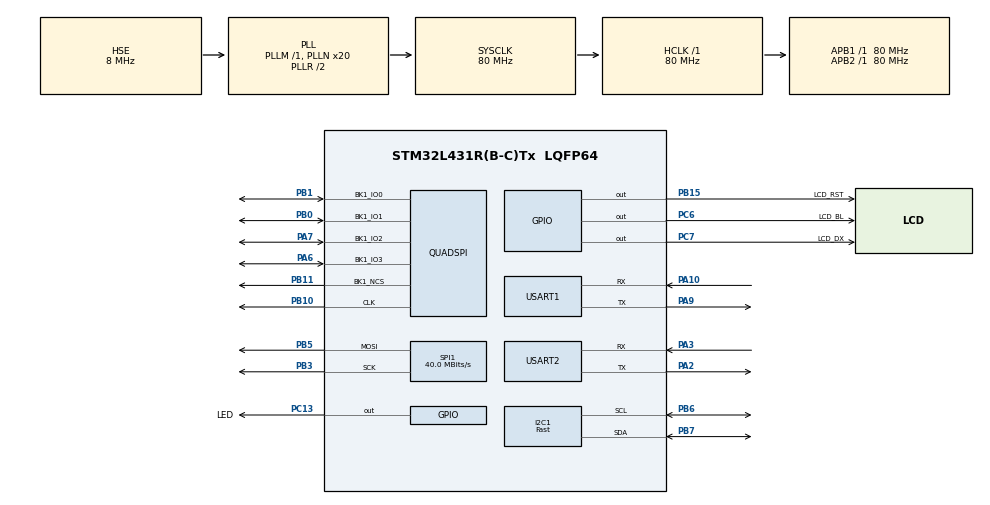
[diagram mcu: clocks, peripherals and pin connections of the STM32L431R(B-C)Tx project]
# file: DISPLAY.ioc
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Dma.Request0=SPI1_TX
Dma.SPI1_TX.0.Direction=DMA_MEMORY_TO_PERIPH
Dma.SPI1_TX.0.Instance=DMA1_Channel3
Dma.SPI1_TX.0.MemDataAlignment=DMA_MDATAALIGN_BYTE
Dma.SPI1_TX.0.MemInc=DMA_MINC_ENABLE
Dma.SPI1_TX.0.Mode=DMA_NORMAL
Dma.SPI1_TX.0.PeriphDataAlignment=DMA_PDATAALIGN_BYTE
Dma.SPI1_TX.0.PeriphInc=DMA_PINC_DISABLE
Dma.SPI1_TX.0.Priority=DMA_PRIORITY_LOW
I2C1.I2C_Speed_Mode=I2C_Fast
I2C1.Timing=0x00702991
Mcu.Family=STM32L4
Mcu.Name=STM32L431R(B-C)Tx
Mcu.Package=LQFP64
NVIC.DMA1_Channel3_IRQn=true\:0\:0\:false\:false\:true\:false\:true\:true
NVIC.PriorityGroup=NVIC_PRIORITYGROUP_4
NVIC.SPI1_IRQn=true\:0\:0\:false\:false\:true\:true\:true\:true
NVIC.TIM6_DAC_IRQn=true\:0\:0\:false\:false\:true\:true\:true\:true
NVIC.USART2_IRQn=true\:0\:0\:false\:false\:true\:true\:true\:true
PA10.Mode=Asynchronous
PA10.Signal=USART1_RX
PA13\ (JTMS-SWDIO).Mode=Serial_Wire
PA13\ (JTMS-SWDIO).Signal=SYS_JTMS-SWDIO
PA14\ (JTCK-SWCLK).Mode=Serial_Wire
PA14\ (JTCK-SWCLK).Signal=SYS_JTCK-SWCLK
PA2.Mode=Asynchronous
PA2.Signal=USART2_TX
PA3.Mode=Asynchronous
PA3.Signal=USART2_RX
PA6.Mode=Single Bank 1
PA6.Signal=QUADSPI_BK1_IO3
PA7.Mode=Single Bank 1
PA7.Signal=QUADSPI_BK1_IO2
PA9.Mode=Asynchronous
PA9.Signal=USART1_TX
PB0.Mode=Single Bank 1
PB0.Signal=QUADSPI_BK1_IO1
PB1.Mode=Single Bank 1
PB1.Signal=QUADSPI_BK1_IO0
PB10.Mode=Single Bank 1
PB10.Signal=QUADSPI_CLK
PB11.Mode=Single Bank 1
PB11.Signal=QUADSPI_BK1_NCS
PB15.GPIO_Label=LCD_RST
PB15.GPIO_PuPd=GPIO_PULLUP
PB15.Signal=GPIO_Output
PB3\ (JTDO-TRACESWO).GPIO_PuPd=GPIO_PULLDOWN
PB3\ (JTDO-TRACESWO).Mode=TX_Only_Simplex_Unidirect_Master
PB3\ (JTDO-TRACESWO).Signal=SPI1_SCK
PB5.GPIO_PuPd=GPIO_PULLDOWN
PB5.Mode=TX_Only_Simplex_Unidirect_Master
PB5.Signal=SPI1_MOSI
PB6.Mode=I2C
PB6.Signal=I2C1_SCL
PB7.Mode=I2C
PB7.Signal=I2C1_SDA
PC13.GPIO_Label=LED
PC13.GPIO_PuPd=GPIO_PULLDOWN
PC13.PinState=GPIO_PIN_SET
PC13.Signal=GPIO_Output
PC6.GPIO_Label=LCD_BL
PC6.GPIO_PuPd=GPIO_PULLUP
PC6.Signal=GPIO_Output
PC7.GPIO_Label=LCD_DX
PC7.GPIO_PuPd=GPIO_PULLUP
PC7.GPIO_Speed=GPIO_SPEED_FREQ_VERY_HIGH
PC7.PinState=GPIO_PIN_SET
PC7.Signal=GPIO_Output
PH0-OSC_IN\ (PH0).Mode=HSE-External-Oscillator
PH0-OSC_IN\ (PH0).Signal=RCC_OSC_IN
PH1-OSC_OUT\ (PH1).Mode=HSE-External-Oscillator
PH1-OSC_OUT\ (PH1).Signal=RCC_OSC_OUT
ProjectManager.HeapSize=0x200
ProjectManager.StackSize=0x800
ProjectManager.TargetToolchain=MDK-ARM V5.32
QUADSPI.ChipSelectHighTime=QSPI_CS_HIGH_TIME_4_CYCLE
QUADSPI.ClockPrescaler=0
QUADSPI.FifoThreshold=4
QUADSPI.FlashSize=24
QUADSPI.SampleShifting=QSPI_SAMPLE_SHIFTING_HALFCYCLE
RCC.ADCFreq_Value=32000000
RCC.AHBFreq_Value=80000000
RCC.APB1Freq_Value=80000000
RCC.APB1TimFreq_Value=80000000
RCC.APB2Freq_Value=80000000
RCC.APB2TimFreq_Value=80000000
RCC.CortexFreq_Value=80000000
RCC.HCLKFreq_Value=80000000
RCC.HSE_VALUE=8000000
RCC.HSI48_VALUE=48000000
RCC.HSI_VALUE=16000000
RCC.LSE_VALUE=32768
RCC.MSI_VALUE=4000000
RCC.PLLN=20
RCC.PLLSourceVirtual=RCC_PLLSOURCE_HSE
RCC.SYSCLKFreq_VALUE=80000000
RCC.SYSCLKSource=RCC_SYSCLKSOURCE_PLLCLK
RCC.VCOOutputFreq_Value=160000000
SPI1.BaudRatePrescaler=SPI_BAUDRATEPRESCALER_2
SPI1.CLKPhase=SPI_PHASE_2EDGE
SPI1.CLKPolarity=SPI_POLARITY_HIGH
SPI1.CalculateBaudRate=40.0 MBits/s
SPI1.DataSize=SPI_DATASIZE_8BIT
SPI1.Direction=SPI_DIRECTION_2LINES
SPI1.Mode=SPI_MODE_MASTER
SPI1.VirtualType=VM_MASTER
STMicroelectronics.X-CUBE-TOUCHGFX.4.18.1.ApplicationCcGraphicsJjApplication=TouchGFXOoGenerator
STMicroelectronics.X-CUBE-TOUCHGFX.4.18.1.tgfx_block_size=2048
STMicroelectronics.X-CUBE-TOUCHGFX.4.18.1.tgfx_buffering_strategy=Partial
STMicroelectronics.X-CUBE-TOUCHGFX.4.18.1.tgfx_custom_height=320
STMicroelectronics.X-CUBE-TOUCHGFX.4.18.1.tgfx_custom_width=240
STMicroelectronics.X-CUBE-TOUCHGFX.4.18.1.tgfx_datareader=Disabled
STMicroelectronics.X-CUBE-TOUCHGFX.4.18.1.tgfx_datareader_block_size=480
STMicroelectronics.X-CUBE-TOUCHGFX.4.18.1.tgfx_number_of_blocks=6
STMicroelectronics.X-CUBE-TOUCHGFX.4.18.1.tgfx_partialfb_transmit_strategy=Enabled
STMicroelectronics.X-CUBE-TOUCHGFX.4.18.1_IsPackSelfContextualization=true
TIM6.AutoReloadPreload=TIM_AUTORELOAD_PRELOAD_ENABLE
TIM6.Period=1000
TIM6.Prescaler=79
TIM6.TIM_MasterOutputTrigger=TIM_TRGO_ENABLE
USART1.VirtualMode-Asynchronous=VM_ASYNC
USART2.VirtualMode-Asynchronous=VM_ASYNC
VP_CRC_VS_CRC.Mode=CRC_Activate
VP_STMicroelectronics.X-CUBE-TOUCHGFX_VS_GraphicsJjApplication_4.18.1.Mode=GraphicsJjApplication
VP_TIM6_VS_ClockSourceINT.Mode=Enable_Timer
board=custom

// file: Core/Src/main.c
/* USER CODE BEGIN Header */
/**
  ******************************************************************************
  * @file           : main.c
  * @brief          : Main program body
  ******************************************************************************
  * @attention
  *
  * <h2><center>&copy; Copyright (c) 2022 STMicroelectronics.
  * All rights reserved.</center></h2>
  *
  * This software component is licensed by ST under BSD 3-Clause license,
  * the "License"; You may not use this file except in compliance with the
  * License. You may obtain a copy of the License at:
  *                        opensource.org/licenses/BSD-3-Clause
  *
  ******************************************************************************
  */
/* USER CODE END Header */
#include "main.h"
#include "app_touchgfx.h"

/* USER CODE BEGIN Includes */
#include "st7789.h"
#include "norflash.h"
#include "ns2009.h"
#include "stdio.h"
/* USER CODE END Includes */

CRC_HandleTypeDef hcrc;

I2C_HandleTypeDef hi2c1;

QSPI_HandleTypeDef hqspi;

SPI_HandleTypeDef hspi1;
DMA_HandleTypeDef hdma_spi1_tx;

TIM_HandleTypeDef htim6;

UART_HandleTypeDef huart1;
UART_HandleTypeDef huart2;

/* USER CODE BEGIN PV */
#ifdef __GNUC__
#define PUTCHAR_PROTOTYPE int __io_putchar(int ch)
#else
#define PUTCHAR_PROTOTYPE int fputc(int ch, FILE *f)
#endif
PUTCHAR_PROTOTYPE { HAL_UART_Transmit(&huart1 , (uint8_t *)&ch, 1, 0xFFFF); return ch; }

//UART.c
uint8_t UART1_Rx_Buf[MAX_REC_LENGTH] = {0}; //USART1存储接收数据
uint8_t UART1_Rx_flg = 0;                   //USART1接收完成标志
uint8_t  UART1_Rx_cnt = 0;                   //USART1接受数据计数器
uint8_t UART1_temp[REC_LENGTH] = {0};       //USART1接收数据缓存

uint8_t UART2_Rx_Buf[1] = {0}; //USART2存储接收数据
uint8_t UART2_Rx_Data = 0;                   //USART2接收字节
uint8_t UART2_Rx_cnt = 0;                   //USART2接受数据计数器
uint8_t UART2_temp[REC2_LENGTH] = {0};       //USART2接收数据缓存
uint8_t UART2_Data[REC_LENGTH] = {0};

uint8_t aRxBuff;        //用于存放串口接收到的单字节
uint8_t rxNum = 0;      //用于计数
uint8_t rxFlag = 0;     //接收标志，用于判断串口是否正在接收一帧数据

uint8_t headBuff[5];    //临时存放帧头
uint8_t rxBuff[24];     //用于存放接收到的帧

uint8_t dataBuff1[24];  //数据包1
uint8_t dataBuff2[24];  //数据包2
/* USER CODE END PV */

void SystemClock_Config(void);
static void MX_GPIO_Init(void);
static void MX_DMA_Init(void);
static void MX_SPI1_Init(void);
static void MX_CRC_Init(void);
static void MX_TIM6_Init(void);
static void MX_QUADSPI_Init(void);
static void MX_I2C1_Init(void);
static void MX_USART1_UART_Init(void);
static void MX_USART2_UART_Init(void);

/* USER CODE BEGIN 0 */
int start_time1,start_time2,started=0;
/* USER CODE END 0 */

int main(void)
{

  /* MCU Configuration--------------------------------------------------------*/

  /* Reset of all peripherals, Initializes the Flash interface and the Systick. */
  HAL_Init();

  /* Configure the system clock */
  SystemClock_Config();

  /* USER CODE BEGIN SysInit */
  MX_QUADSPI_Init();
	NORFLASH_Init();
		HAL_Delay(500);
  /* USER CODE END SysInit */

  /* Initialize all configured peripherals */
  MX_GPIO_Init();
  MX_DMA_Init();
  MX_SPI1_Init();
  MX_CRC_Init();
  MX_TIM6_Init();
  MX_I2C1_Init();
  MX_USART1_UART_Init();
  MX_USART2_UART_Init();
  MX_TouchGFX_Init();
  /* USER CODE BEGIN 2 */
	bsp_ns2009_init();
	ST7789_Init();
	HAL_TIM_Base_Start_IT(&htim6);
  /* USER CODE END 2 */

  /* Infinite loop */
  while (1)
  {

		MX_TouchGFX_Process();
    /* USER CODE BEGIN 3 */
		//串口发送指令给下位机
			UART2_Data[0]=0xA5;
			UART2_Data[1]=0x5A;
			for(int i=0;i<REC_LENGTH;i++)
			HAL_UART_Transmit(&huart2,&UART2_Data[i],1,1000);//单字节发送

  }
  /* USER CODE END 3 */
}

void SystemClock_Config(void)
{
  RCC_OscInitTypeDef RCC_OscInitStruct = {0};
  RCC_ClkInitTypeDef RCC_ClkInitStruct = {0};

  /** Configure the main internal regulator output voltage
  */
  if (HAL_PWREx_ControlVoltageScaling(PWR_REGULATOR_VOLTAGE_SCALE1) != HAL_OK)
  {
    Error_Handler();
  }

  /** Initializes the RCC Oscillators according to the specified parameters
  * in the RCC_OscInitTypeDef structure.
  */
  RCC_OscInitStruct.OscillatorType = RCC_OSCILLATORTYPE_HSE;
  RCC_OscInitStruct.HSEState = RCC_HSE_ON;
  RCC_OscInitStruct.PLL.PLLState = RCC_PLL_ON;
  RCC_OscInitStruct.PLL.PLLSource = RCC_PLLSOURCE_HSE;
  RCC_OscInitStruct.PLL.PLLM = 1;
  RCC_OscInitStruct.PLL.PLLN = 20;
  RCC_OscInitStruct.PLL.PLLP = RCC_PLLP_DIV7;
  RCC_OscInitStruct.PLL.PLLQ = RCC_PLLQ_DIV2;
  RCC_OscInitStruct.PLL.PLLR = RCC_PLLR_DIV2;
  if (HAL_RCC_OscConfig(&RCC_OscInitStruct) != HAL_OK)
  {
    Error_Handler();
  }

  /** Initializes the CPU, AHB and APB buses clocks
  */
  RCC_ClkInitStruct.ClockType = RCC_CLOCKTYPE_HCLK|RCC_CLOCKTYPE_SYSCLK
                              |RCC_CLOCKTYPE_PCLK1|RCC_CLOCKTYPE_PCLK2;
  RCC_ClkInitStruct.SYSCLKSource = RCC_SYSCLKSOURCE_PLLCLK;
  RCC_ClkInitStruct.AHBCLKDivider = RCC_SYSCLK_DIV1;
  RCC_ClkInitStruct.APB1CLKDivider = RCC_HCLK_DIV1;
  RCC_ClkInitStruct.APB2CLKDivider = RCC_HCLK_DIV1;

  if (HAL_RCC_ClockConfig(&RCC_ClkInitStruct, FLASH_LATENCY_4) != HAL_OK)
  {
    Error_Handler();
  }
}

static void MX_CRC_Init(void)
{

  hcrc.Instance = CRC;
  hcrc.Init.DefaultPolynomialUse = DEFAULT_POLYNOMIAL_ENABLE;
  hcrc.Init.DefaultInitValueUse = DEFAULT_INIT_VALUE_ENABLE;
  hcrc.Init.InputDataInversionMode = CRC_INPUTDATA_INVERSION_NONE;
  hcrc.Init.OutputDataInversionMode = CRC_OUTPUTDATA_INVERSION_DISABLE;
  hcrc.InputDataFormat = CRC_INPUTDATA_FORMAT_BYTES;
  if (HAL_CRC_Init(&hcrc) != HAL_OK)
  {
    Error_Handler();
  }

}

static void MX_I2C1_Init(void)
{

  hi2c1.Instance = I2C1;
  hi2c1.Init.Timing = 0x00702991;
  hi2c1.Init.OwnAddress1 = 0;
  hi2c1.Init.AddressingMode = I2C_ADDRESSINGMODE_7BIT;
  hi2c1.Init.DualAddressMode = I2C_DUALADDRESS_DISABLE;
  hi2c1.Init.OwnAddress2 = 0;
  hi2c1.Init.OwnAddress2Masks = I2C_OA2_NOMASK;
  hi2c1.Init.GeneralCallMode = I2C_GENERALCALL_DISABLE;
  hi2c1.Init.NoStretchMode = I2C_NOSTRETCH_DISABLE;
  if (HAL_I2C_Init(&hi2c1) != HAL_OK)
  {
    Error_Handler();
  }

  /** Configure Analogue filter
  */
  if (HAL_I2CEx_ConfigAnalogFilter(&hi2c1, I2C_ANALOGFILTER_ENABLE) != HAL_OK)
  {
    Error_Handler();
  }

  /** Configure Digital filter
  */
  if (HAL_I2CEx_ConfigDigitalFilter(&hi2c1, 0) != HAL_OK)
  {
    Error_Handler();
  }

}

static void MX_QUADSPI_Init(void)
{

  /* QUADSPI parameter configuration*/
  hqspi.Instance = QUADSPI;
  hqspi.Init.ClockPrescaler = 0;
  hqspi.Init.FifoThreshold = 4;
  hqspi.Init.SampleShifting = QSPI_SAMPLE_SHIFTING_HALFCYCLE;
  hqspi.Init.FlashSize = 24;
  hqspi.Init.ChipSelectHighTime = QSPI_CS_HIGH_TIME_4_CYCLE;
  hqspi.Init.ClockMode = QSPI_CLOCK_MODE_0;
  hqspi.Init.FlashID = QSPI_FLASH_ID_1;
  hqspi.Init.DualFlash = QSPI_DUALFLASH_DISABLE;
  if (HAL_QSPI_Init(&hqspi) != HAL_OK)
  {
    Error_Handler();
  }

}

static void MX_SPI1_Init(void)
{

  /* SPI1 parameter configuration*/
  hspi1.Instance = SPI1;
  hspi1.Init.Mode = SPI_MODE_MASTER;
  hspi1.Init.Direction = SPI_DIRECTION_2LINES;
  hspi1.Init.DataSize = SPI_DATASIZE_8BIT;
  hspi1.Init.CLKPolarity = SPI_POLARITY_HIGH;
  hspi1.Init.CLKPhase = SPI_PHASE_2EDGE;
  hspi1.Init.NSS = SPI_NSS_SOFT;
  hspi1.Init.BaudRatePrescaler = SPI_BAUDRATEPRESCALER_2;
  hspi1.Init.FirstBit = SPI_FIRSTBIT_MSB;
  hspi1.Init.TIMode = SPI_TIMODE_DISABLE;
  hspi1.Init.CRCCalculation = SPI_CRCCALCULATION_DISABLE;
  hspi1.Init.CRCPolynomial = 7;
  hspi1.Init.CRCLength = SPI_CRC_LENGTH_DATASIZE;
  hspi1.Init.NSSPMode = SPI_NSS_PULSE_DISABLE;
  if (HAL_SPI_Init(&hspi1) != HAL_OK)
  {
    Error_Handler();
  }

}

static void MX_TIM6_Init(void)
{

  TIM_MasterConfigTypeDef sMasterConfig = {0};

  htim6.Instance = TIM6;
  htim6.Init.Prescaler = 79;
  htim6.Init.CounterMode = TIM_COUNTERMODE_UP;
  htim6.Init.Period = 1000;
  htim6.Init.AutoReloadPreload = TIM_AUTORELOAD_PRELOAD_ENABLE;
  if (HAL_TIM_Base_Init(&htim6) != HAL_OK)
  {
    Error_Handler();
  }
  sMasterConfig.MasterOutputTrigger = TIM_TRGO_ENABLE;
  sMasterConfig.MasterSlaveMode = TIM_MASTERSLAVEMODE_DISABLE;
  if (HAL_TIMEx_MasterConfigSynchronization(&htim6, &sMasterConfig) != HAL_OK)
  {
    Error_Handler();
  }

}

static void MX_USART1_UART_Init(void)
{

  huart1.Instance = USART1;
  huart1.Init.BaudRate = 115200;
  huart1.Init.WordLength = UART_WORDLENGTH_8B;
  huart1.Init.StopBits = UART_STOPBITS_1;
  huart1.Init.Parity = UART_PARITY_NONE;
  huart1.Init.Mode = UART_MODE_TX_RX;
  huart1.Init.HwFlowCtl = UART_HWCONTROL_NONE;
  huart1.Init.OverSampling = UART_OVERSAMPLING_16;
  huart1.Init.OneBitSampling = UART_ONE_BIT_SAMPLE_DISABLE;
  huart1.AdvancedInit.AdvFeatureInit = UART_ADVFEATURE_NO_INIT;
  if (HAL_UART_Init(&huart1) != HAL_OK)
  {
    Error_Handler();
  }

}

static void MX_USART2_UART_Init(void)
{

  huart2.Instance = USART2;
  huart2.Init.BaudRate = 115200;
  huart2.Init.WordLength = UART_WORDLENGTH_8B;
  huart2.Init.StopBits = UART_STOPBITS_1;
  huart2.Init.Parity = UART_PARITY_NONE;
  huart2.Init.Mode = UART_MODE_TX_RX;
  huart2.Init.HwFlowCtl = UART_HWCONTROL_NONE;
  huart2.Init.OverSampling = UART_OVERSAMPLING_16;
  huart2.Init.OneBitSampling = UART_ONE_BIT_SAMPLE_DISABLE;
  huart2.AdvancedInit.AdvFeatureInit = UART_ADVFEATURE_NO_INIT;
  if (HAL_UART_Init(&huart2) != HAL_OK)
  {
    Error_Handler();
  }
  /* USER CODE BEGIN USART2_Init 2 */
//	HAL_UART_Receive_IT(&huart2,(uint8_t *)UART2_temp,REC_LENGTH);
	HAL_UART_Receive_IT(&huart2,UART2_Rx_Buf,1);
//	HAL_UART_Receive_IT(&huart2,&aRxBuff,1);
  /* USER CODE END USART2_Init 2 */

}

static void MX_DMA_Init(void)
{

  /* DMA controller clock enable */
  __HAL_RCC_DMA1_CLK_ENABLE();

  /* DMA interrupt init */
  /* DMA1_Channel3_IRQn interrupt configuration */
  HAL_NVIC_SetPriority(DMA1_Channel3_IRQn, 0, 0);
  HAL_NVIC_EnableIRQ(DMA1_Channel3_IRQn);

}

static void MX_GPIO_Init(void)
{
  GPIO_InitTypeDef GPIO_InitStruct = {0};

  /* GPIO Ports Clock Enable */
  __HAL_RCC_GPIOC_CLK_ENABLE();
  __HAL_RCC_GPIOH_CLK_ENABLE();
  __HAL_RCC_GPIOA_CLK_ENABLE();
  __HAL_RCC_GPIOB_CLK_ENABLE();

  /*Configure GPIO pin Output Level */
  HAL_GPIO_WritePin(GPIOC, LED_Pin|LCD_DX_Pin, GPIO_PIN_SET);

  /*Configure GPIO pin Output Level */
  HAL_GPIO_WritePin(LCD_RST_GPIO_Port, LCD_RST_Pin, GPIO_PIN_RESET);

  /*Configure GPIO pin Output Level */
  HAL_GPIO_WritePin(LCD_BL_GPIO_Port, LCD_BL_Pin, GPIO_PIN_RESET);

  /*Configure GPIO pin : LED_Pin */
  GPIO_InitStruct.Pin = LED_Pin;
  GPIO_InitStruct.Mode = GPIO_MODE_OUTPUT_PP;
  GPIO_InitStruct.Pull = GPIO_PULLDOWN;
  GPIO_InitStruct.Speed = GPIO_SPEED_FREQ_LOW;
  HAL_GPIO_Init(LED_GPIO_Port, &GPIO_InitStruct);

  /*Configure GPIO pin : LCD_RST_Pin */
  GPIO_InitStruct.Pin = LCD_RST_Pin;
  GPIO_InitStruct.Mode = GPIO_MODE_OUTPUT_PP;
  GPIO_InitStruct.Pull = GPIO_PULLUP;
  GPIO_InitStruct.Speed = GPIO_SPEED_FREQ_LOW;
  HAL_GPIO_Init(LCD_RST_GPIO_Port, &GPIO_InitStruct);

  /*Configure GPIO pin : LCD_BL_Pin */
  GPIO_InitStruct.Pin = LCD_BL_Pin;
  GPIO_InitStruct.Mode = GPIO_MODE_OUTPUT_PP;
  GPIO_InitStruct.Pull = GPIO_PULLUP;
  GPIO_InitStruct.Speed = GPIO_SPEED_FREQ_LOW;
  HAL_GPIO_Init(LCD_BL_GPIO_Port, &GPIO_InitStruct);

  /*Configure GPIO pin : LCD_DX_Pin */
  GPIO_InitStruct.Pin = LCD_DX_Pin;
  GPIO_InitStruct.Mode = GPIO_MODE_OUTPUT_PP;
  GPIO_InitStruct.Pull = GPIO_PULLUP;
  GPIO_InitStruct.Speed = GPIO_SPEED_FREQ_VERY_HIGH;
  HAL_GPIO_Init(LCD_DX_GPIO_Port, &GPIO_InitStruct);

}

/* USER CODE BEGIN 4 */
/**
  * @brief 串口中断回调函数
  * @param 调用回调函数的串口
  * @note  串口每次收到数据以后都会关闭中断，如需重复使用，必须再次开启
  * @retval None
  */
void HAL_UART_RxCpltCallback(UART_HandleTypeDef *huart)
{
	uint8_t start=0;
  int i=0;

  if(huart->Instance==USART2)
  {
//    UART2_Rx_Buf[UART2_Rx_cnt] = UART2_temp[0];
//    UART2_Rx_cnt++;
//    UART2_Rx_flg = 1;
//    HAL_UART_Receive_IT(&huart2,(uint8_t *)UART2_temp,REC2_LENGTH);

		UART2_temp[UART2_Rx_cnt]=UART2_Rx_Buf[0];
		if(UART2_temp[0]!=0xA5)//第一个帧头
		{
			start=0;
			UART2_Rx_cnt=0;
		}
		else start=1;

		if(start==1)
		{
			UART2_Rx_cnt++;
			if(UART2_Rx_cnt>(REC_LENGTH-1))
			{
				UART2_Rx_cnt=0;//接收完成0
			}
		}
		while(HAL_UART_Receive_IT(&huart2,(uint8_t *)UART2_Rx_Buf,1)!=HAL_OK)
		{
			i++;
			if(i>=10)
			{
				huart2.RxState = HAL_UART_STATE_READY;
				__HAL_UNLOCK(&huart2);//手动解锁串口
				i=0;
			}
		}
//		HAL_UART_Receive_IT(&huart2,(uint8_t *)UART2_Rx_Buf,1);

//		if(start==0)
//		{
//			headBuff[rxNum++] = aRxBuff;
//			if(headBuff[rxNum - 1] == 0x5A && headBuff[rxNum - 2] == 0xA5)
//			{
//				start = 1;
//				rxNum = 1;
//				memset(&headBuff,0,sizeof(headBuff));
//			}
//			if(rxNum > 5) rxNum = 0;
//		}
//
//		if(start==1)
//		{
//			rxBuff[++rxNum] = aRxBuff;
//			if(rxNum == REC_LENGTH)
//			{
//				start = 0;
//				rxNum = 0;
//
//				rxBuff[0] = 0xA5;    //补充帧头到数据包
//
//				memcpy(&UART2_temp,rxBuff,REC_LENGTH);
//				memset(rxBuff,0,sizeof(rxBuff));
//
//			}
//		}
//    	HAL_UART_Receive_IT(&huart2,&aRxBuff,1);
  }
}
/* USER CODE END 4 */

void Error_Handler(void)
{
  __disable_irq();
  while (1)
  {
  }
}
